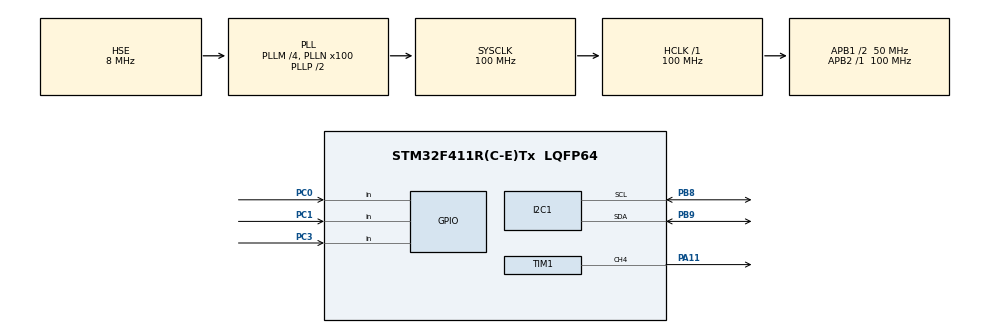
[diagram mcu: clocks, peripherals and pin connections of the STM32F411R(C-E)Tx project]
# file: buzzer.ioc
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Mcu.Family=STM32F4
Mcu.Name=STM32F411R(C-E)Tx
Mcu.Package=LQFP64
NVIC.PriorityGroup=NVIC_PRIORITYGROUP_4
PA11.Signal=S_TIM1_CH4
PA13.Mode=Serial_Wire
PA13.Signal=SYS_JTMS-SWDIO
PA14.Mode=Serial_Wire
PA14.Signal=SYS_JTCK-SWCLK
PB8.Mode=I2C
PB8.Signal=I2C1_SCL
PB9.Mode=I2C
PB9.Signal=I2C1_SDA
PC0.Signal=GPIO_Input
PC1.Signal=GPIO_Input
PC3.Signal=GPIO_Input
PH0\ -\ OSC_IN.Mode=HSE-External-Oscillator
PH0\ -\ OSC_IN.Signal=RCC_OSC_IN
PH1\ -\ OSC_OUT.Mode=HSE-External-Oscillator
PH1\ -\ OSC_OUT.Signal=RCC_OSC_OUT
ProjectManager.HeapSize=0x200
ProjectManager.StackSize=0x400
ProjectManager.TargetToolchain=STM32CubeIDE
RCC.48MHZClocksFreq_Value=50000000
RCC.AHBFreq_Value=100000000
RCC.APB1CLKDivider=RCC_HCLK_DIV2
RCC.APB1Freq_Value=50000000
RCC.APB1TimFreq_Value=100000000
RCC.APB2Freq_Value=100000000
RCC.APB2TimFreq_Value=100000000
RCC.CortexFreq_Value=100000000
RCC.HCLKFreq_Value=100000000
RCC.HSE_VALUE=8000000
RCC.HSI_VALUE=16000000
RCC.LSE_VALUE=32768
RCC.PLLM=4
RCC.PLLN=100
RCC.PLLSourceVirtual=RCC_PLLSOURCE_HSE
RCC.SYSCLKFreq_VALUE=100000000
RCC.SYSCLKSource=RCC_SYSCLKSOURCE_PLLCLK
RCC.VCOOutputFreq_Value=200000000
SH.S_TIM1_CH4.0=TIM1_CH4,PWM Generation4 CH4
TIM1.AutoReloadPreload=TIM_AUTORELOAD_PRELOAD_ENABLE
TIM1.Channel-PWM\ Generation4\ CH4=TIM_CHANNEL_4
TIM1.Prescaler=100-1
VP_TIM1_VS_ClockSourceINT.Mode=Internal
board=custom

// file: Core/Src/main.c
/* USER CODE BEGIN Header */
/**
 ******************************************************************************
 * @file           : main.c
 * @brief          : Main program body
 ******************************************************************************
 * @attention
 *
 * Copyright (c) 2026 STMicroelectronics.
 * All rights reserved.
 *
 * This software is licensed under terms that can be found in the LICENSE file
 * in the root directory of this software component.
 * If no LICENSE file comes with this software, it is provided AS-IS.
 *
 ******************************************************************************
 */
/* USER CODE END Header */
#include "main.h"

/* USER CODE BEGIN Includes */
#include "ap/ap_main.h"

/* USER CODE END Includes */

I2C_HandleTypeDef hi2c1;

TIM_HandleTypeDef htim1;

void SystemClock_Config(void);
static void MX_GPIO_Init(void);
static void MX_TIM1_Init(void);
static void MX_I2C1_Init(void);

/* USER CODE BEGIN 0 */

typedef enum {
	BTN_NORMAL, BTN_ERROR, BTN_ALARM
} btn_event_t;

#define BTN_EVENT_BUF_SIZE	6

btn_event_t buf_btnEvent[BTN_EVENT_BUF_SIZE];
queue_buf_t q_btnEvent;
btn_event_t btnEvent;

/* USER CODE END 0 */

int main(void) {

	/* MCU Configuration--------------------------------------------------------*/

	/* Reset of all peripherals, Initializes the Flash interface and the Systick. */
	HAL_Init();

	/* Configure the system clock */
	SystemClock_Config();

	/* Initialize all configured peripherals */
	MX_GPIO_Init();
	MX_TIM1_Init();
	MX_I2C1_Init();
	/* USER CODE BEGIN 2 */
	button_t btn_normal, btn_error, btn_alarm;

	button_init(&btn_normal, GPIOC, GPIO_PIN_0);
	button_init(&btn_error, GPIOC, GPIO_PIN_1);
	button_init(&btn_alarm, GPIOC, GPIO_PIN_3);

	uint32_t prevTime = 0;
	queue_buf_init(&q_btnEvent, buf_btnEvent, sizeof(btn_event_t), BTN_EVENT_BUF_SIZE);

	sound_init();
	sound_boot();

	/* USER CODE END 2 */

	/* Infinite loop */
	/* USER CODE BEGIN WHILE */
	while (1) {
//		ap_main();

		if (button_getState(&btn_normal) == ACT_RELEASE) {
			btnEvent = BTN_NORMAL;
			queue_push(&q_btnEvent, &btnEvent);
		}
		if (button_getState(&btn_error) == ACT_RELEASE) {
			btnEvent = BTN_ERROR;
			queue_push(&q_btnEvent, &btnEvent);
		}
		if (button_getState(&btn_alarm) == ACT_RELEASE) {
			btnEvent = BTN_ALARM;
			queue_push(&q_btnEvent, &btnEvent);
		}

		if (HAL_GetTick() - prevTime >= 2000) {
			prevTime = HAL_GetTick();
			if (!queue_isEmpty(&q_btnEvent)) {
				queue_pop(&q_btnEvent, &btnEvent);

				if (btnEvent == BTN_NORMAL) {
					sound_button();
				}
				if (btnEvent == BTN_ERROR) {
					sound_error();
				}
				if (btnEvent == BTN_ALARM) {
					sound_alarm();
				}
			}
		}
		/* USER CODE END WHILE */

	}
}

void SystemClock_Config(void) {
	RCC_OscInitTypeDef RCC_OscInitStruct = { 0 };
	RCC_ClkInitTypeDef RCC_ClkInitStruct = { 0 };

	/** Configure the main internal regulator output voltage
	 */
	__HAL_RCC_PWR_CLK_ENABLE();
	__HAL_PWR_VOLTAGESCALING_CONFIG(PWR_REGULATOR_VOLTAGE_SCALE1);

	/** Initializes the RCC Oscillators according to the specified parameters
	 * in the RCC_OscInitTypeDef structure.
	 */
	RCC_OscInitStruct.OscillatorType = RCC_OSCILLATORTYPE_HSE;
	RCC_OscInitStruct.HSEState = RCC_HSE_ON;
	RCC_OscInitStruct.PLL.PLLState = RCC_PLL_ON;
	RCC_OscInitStruct.PLL.PLLSource = RCC_PLLSOURCE_HSE;
	RCC_OscInitStruct.PLL.PLLM = 4;
	RCC_OscInitStruct.PLL.PLLN = 100;
	RCC_OscInitStruct.PLL.PLLP = RCC_PLLP_DIV2;
	RCC_OscInitStruct.PLL.PLLQ = 4;
	if (HAL_RCC_OscConfig(&RCC_OscInitStruct) != HAL_OK) {
		Error_Handler();
	}

	/** Initializes the CPU, AHB and APB buses clocks
	 */
	RCC_ClkInitStruct.ClockType = RCC_CLOCKTYPE_HCLK | RCC_CLOCKTYPE_SYSCLK
			| RCC_CLOCKTYPE_PCLK1 | RCC_CLOCKTYPE_PCLK2;
	RCC_ClkInitStruct.SYSCLKSource = RCC_SYSCLKSOURCE_PLLCLK;
	RCC_ClkInitStruct.AHBCLKDivider = RCC_SYSCLK_DIV1;
	RCC_ClkInitStruct.APB1CLKDivider = RCC_HCLK_DIV2;
	RCC_ClkInitStruct.APB2CLKDivider = RCC_HCLK_DIV1;

	if (HAL_RCC_ClockConfig(&RCC_ClkInitStruct, FLASH_LATENCY_3) != HAL_OK) {
		Error_Handler();
	}
}

static void MX_I2C1_Init(void) {

	hi2c1.Instance = I2C1;
	hi2c1.Init.ClockSpeed = 100000;
	hi2c1.Init.DutyCycle = I2C_DUTYCYCLE_2;
	hi2c1.Init.OwnAddress1 = 0;
	hi2c1.Init.AddressingMode = I2C_ADDRESSINGMODE_7BIT;
	hi2c1.Init.DualAddressMode = I2C_DUALADDRESS_DISABLE;
	hi2c1.Init.OwnAddress2 = 0;
	hi2c1.Init.GeneralCallMode = I2C_GENERALCALL_DISABLE;
	hi2c1.Init.NoStretchMode = I2C_NOSTRETCH_DISABLE;
	if (HAL_I2C_Init(&hi2c1) != HAL_OK) {
		Error_Handler();
	}

}

static void MX_TIM1_Init(void) {

	TIM_ClockConfigTypeDef sClockSourceConfig = { 0 };
	TIM_MasterConfigTypeDef sMasterConfig = { 0 };
	TIM_OC_InitTypeDef sConfigOC = { 0 };
	TIM_BreakDeadTimeConfigTypeDef sBreakDeadTimeConfig = { 0 };

	htim1.Instance = TIM1;
	htim1.Init.Prescaler = 100 - 1;
	htim1.Init.CounterMode = TIM_COUNTERMODE_UP;
	htim1.Init.Period = 65535;
	htim1.Init.ClockDivision = TIM_CLOCKDIVISION_DIV1;
	htim1.Init.RepetitionCounter = 0;
	htim1.Init.AutoReloadPreload = TIM_AUTORELOAD_PRELOAD_ENABLE;
	if (HAL_TIM_Base_Init(&htim1) != HAL_OK) {
		Error_Handler();
	}
	sClockSourceConfig.ClockSource = TIM_CLOCKSOURCE_INTERNAL;
	if (HAL_TIM_ConfigClockSource(&htim1, &sClockSourceConfig) != HAL_OK) {
		Error_Handler();
	}
	if (HAL_TIM_PWM_Init(&htim1) != HAL_OK) {
		Error_Handler();
	}
	sMasterConfig.MasterOutputTrigger = TIM_TRGO_RESET;
	sMasterConfig.MasterSlaveMode = TIM_MASTERSLAVEMODE_DISABLE;
	if (HAL_TIMEx_MasterConfigSynchronization(&htim1, &sMasterConfig)
			!= HAL_OK) {
		Error_Handler();
	}
	sConfigOC.OCMode = TIM_OCMODE_PWM1;
	sConfigOC.Pulse = 0;
	sConfigOC.OCPolarity = TIM_OCPOLARITY_HIGH;
	sConfigOC.OCFastMode = TIM_OCFAST_DISABLE;
	sConfigOC.OCIdleState = TIM_OCIDLESTATE_RESET;
	sConfigOC.OCNIdleState = TIM_OCNIDLESTATE_RESET;
	if (HAL_TIM_PWM_ConfigChannel(&htim1, &sConfigOC, TIM_CHANNEL_4)
			!= HAL_OK) {
		Error_Handler();
	}
	sBreakDeadTimeConfig.OffStateRunMode = TIM_OSSR_DISABLE;
	sBreakDeadTimeConfig.OffStateIDLEMode = TIM_OSSI_DISABLE;
	sBreakDeadTimeConfig.LockLevel = TIM_LOCKLEVEL_OFF;
	sBreakDeadTimeConfig.DeadTime = 0;
	sBreakDeadTimeConfig.BreakState = TIM_BREAK_DISABLE;
	sBreakDeadTimeConfig.BreakPolarity = TIM_BREAKPOLARITY_HIGH;
	sBreakDeadTimeConfig.AutomaticOutput = TIM_AUTOMATICOUTPUT_DISABLE;
	if (HAL_TIMEx_ConfigBreakDeadTime(&htim1, &sBreakDeadTimeConfig)
			!= HAL_OK) {
		Error_Handler();
	}
	HAL_TIM_MspPostInit(&htim1);

}

static void MX_GPIO_Init(void) {
	GPIO_InitTypeDef GPIO_InitStruct = { 0 };

	/* GPIO Ports Clock Enable */
	__HAL_RCC_GPIOH_CLK_ENABLE();
	__HAL_RCC_GPIOC_CLK_ENABLE();
	__HAL_RCC_GPIOA_CLK_ENABLE();
	__HAL_RCC_GPIOB_CLK_ENABLE();

	/*Configure GPIO pins : PC0 PC1 PC3 */
	GPIO_InitStruct.Pin = GPIO_PIN_0 | GPIO_PIN_1 | GPIO_PIN_3;
	GPIO_InitStruct.Mode = GPIO_MODE_INPUT;
	GPIO_InitStruct.Pull = GPIO_NOPULL;
	HAL_GPIO_Init(GPIOC, &GPIO_InitStruct);

}

void Error_Handler(void) {
	__disable_irq();
	while (1) {
	}
}
